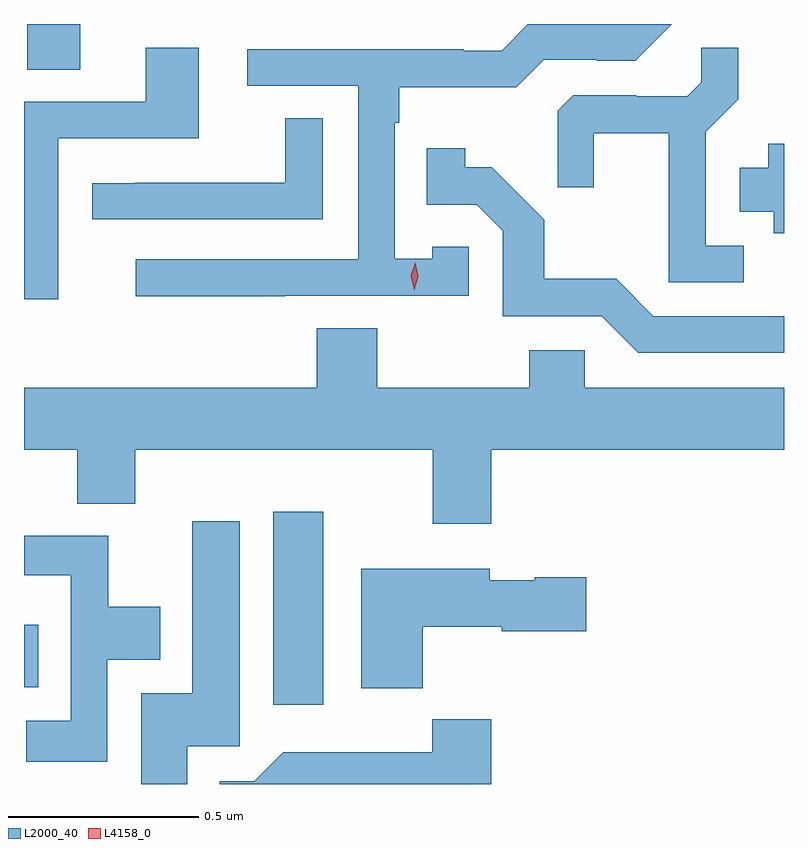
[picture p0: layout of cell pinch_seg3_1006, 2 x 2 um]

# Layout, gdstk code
import gdstk
lib = gdstk.Library(unit=1e-6, precision=1e-09)
def R(c, l, rs):  # rectangles x0, y0, x1, y1
    for r in rs: c.add(gdstk.rectangle(r[:2], r[2:], *l))
def P(c, l, *ps):  # polygons
    for p in ps: c.add(gdstk.Polygon(p, *l))
L2000_40 = (2000, 40)
L4158_0 = (4158, 0)

pinch_seg3_1006 = lib.new_cell('pinch_seg3_1006')
R(pinch_seg3_1006, L2000_40, [(435.305,730.881,435.436,731.389), (434.649,730.928,434.687,731.092), (434.657,732.553,434.797,732.673)])
P(pinch_seg3_1006, L2000_40, [(435.335,731.958),(435.819,731.958),(435.819,732.087),(435.723,732.087),(435.723,732.055),(435.624,732.055),(435.624,732.413),(435.637,732.413),(435.637,732.506),(435.944,732.506),(436.017,732.579),(436.156,732.579),(436.156,732.576),(436.257,732.576),(436.354,732.673),(436.219,732.673),(436.218,732.672),(435.975,732.672),(435.906,732.603),(435.806,732.603),(435.806,732.606),(435.237,732.606),(435.237,732.51),(435.528,732.51),(435.528,732.054),(434.943,732.054),(434.943,731.956),(435.335,731.956)],
  [(434.739,732.372),(435.109,732.372),(435.109,732.611),(434.969,732.611),(434.969,732.468),(434.649,732.468),(434.649,731.949),(434.739,731.949)],
  [(436.543,732.09),(436.443,732.09),(436.443,732.389),(436.529,732.475),(436.529,732.611),(436.431,732.611),(436.431,732.52),(436.394,732.483),(436.26,732.483),(436.26,732.486),(436.095,732.486),(436.054,732.445),(436.054,732.243),(436.148,732.243),(436.148,732.386),(436.346,732.386),(436.346,731.994),(436.543,731.994)],
  [(435.435,732.425),(435.337,732.425),(435.337,732.255),(434.941,732.255),(434.941,732.254),(434.829,732.254),(434.829,732.159),(435.435,732.159)],
  [(436.649,732.358),(436.607,732.358),(436.607,732.295),(436.532,732.295),(436.532,732.179),(436.622,732.179),(436.622,732.122),(436.649,732.122)],
  [(436.649,731.904),(436.305,731.904),(436.207,732.003),(436.018,732.003),(436.018,732.158),(435.88,732.296),(435.81,732.296),(435.81,732.346),(435.709,732.346),(435.709,732.198),(435.84,732.198),(435.909,732.129),(435.909,731.904),(436.17,731.904),(436.266,731.808),(436.649,731.808)],
  [(435.878,731.552),(436.649,731.552),(436.649,731.716),(436.125,731.716),(436.125,731.814),(435.979,731.814),(435.979,731.716),(435.579,731.716),(435.579,731.873),(435.419,731.873),(435.419,731.716),(434.649,731.716),(434.649,731.552),(434.789,731.552),(434.789,731.411),(434.942,731.411),(434.942,731.552),(435.725,731.552),(435.725,731.358),(435.878,731.358)],
  [(435.079,730.773),(435.217,730.773),(435.217,731.365),(435.092,731.365),(435.092,730.912),(434.957,730.912),(434.957,730.673),(435.079,730.673)],
  [(434.868,731),(435.007,731),(435.007,731.14),(434.871,731.14),(434.871,731.326),(434.649,731.326),(434.649,731.222),(434.772,731.222),(434.772,730.839),(434.655,730.839),(434.655,730.731),(434.868,730.731)],
  [(435.698,731.087),(435.906,731.087),(435.906,731.075),(436.129,731.075),(436.129,731.217),(435.993,731.217),(435.993,731.209),(435.874,731.209),(435.874,731.239),(435.536,731.239),(435.536,730.925),(435.698,730.925)],
  [(435.878,730.843),(435.723,730.843),(435.723,730.756),(435.331,730.756),(435.255,730.68),(435.164,730.68),(435.164,730.673),(435.878,730.673)])
P(pinch_seg3_1006, L4158_0, [(435.676,731.973),(435.676,731.974),(435.667,732.01),(435.678,732.045),(435.679,732.045),(435.679,732.045),(435.687,732.009),(435.676,731.974)])

lib.write_gds('pinch_seg3_1006.gds')
